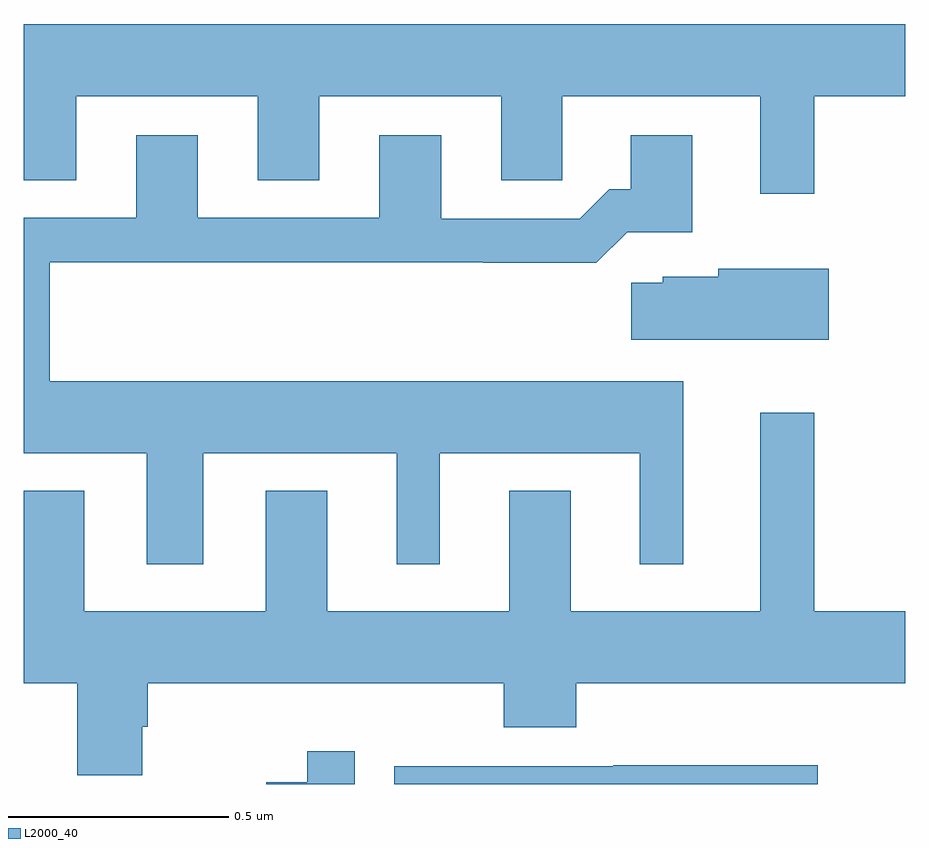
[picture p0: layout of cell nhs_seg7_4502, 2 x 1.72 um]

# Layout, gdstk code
import gdstk
lib = gdstk.Library(unit=1e-6, precision=1e-09)
def P(c, l, *ps):  # polygons
    for p in ps: c.add(gdstk.Polygon(p, *l))
L2000_40 = (2000, 40)

nhs_seg7_4502 = lib.new_cell('nhs_seg7_4502')
P(nhs_seg7_4502, L2000_40, [(174.793,1056.56),(175,1056.56),(175,1056.724),(173,1056.724),(173,1056.37),(173.119,1056.37),(173.119,1056.56),(173.531,1056.56),(173.531,1056.37),(173.671,1056.37),(173.671,1056.56),(174.083,1056.56),(174.083,1056.37),(174.222,1056.37),(174.222,1056.56),(174.671,1056.56),(174.671,1056.339),(174.793,1056.339)],
  [(173.407,1055.75),(173.846,1055.75),(173.846,1055.499),(173.944,1055.499),(173.944,1055.75),(174.398,1055.75),(174.398,1055.499),(174.496,1055.499),(174.496,1055.914),(173.059,1055.914),(173.059,1056.184),(174.043,1056.184),(174.043,1056.182),(174.299,1056.182),(174.369,1056.252),(174.517,1056.252),(174.517,1056.472),(174.377,1056.472),(174.377,1056.349),(174.328,1056.349),(174.261,1056.282),(173.947,1056.282),(173.947,1056.472),(173.807,1056.472),(173.807,1056.285),(173.395,1056.285),(173.395,1056.472),(173.255,1056.472),(173.255,1056.285),(173,1056.285),(173,1055.75),(173.279,1055.75),(173.279,1055.499),(173.407,1055.499)],
  [(174.826,1056.169),(174.576,1056.169),(174.576,1056.151),(174.45,1056.151),(174.45,1056.137),(174.378,1056.137),(174.378,1056.008),(174.826,1056.008)],
  [(173.269,1055.13),(173.282,1055.13),(173.282,1055.228),(174.089,1055.228),(174.089,1055.129),(174.254,1055.129),(174.254,1055.228),(175,1055.228),(175,1055.392),(174.793,1055.392),(174.793,1055.842),(174.671,1055.842),(174.671,1055.392),(174.241,1055.392),(174.241,1055.665),(174.101,1055.665),(174.101,1055.392),(173.689,1055.392),(173.689,1055.665),(173.549,1055.665),(173.549,1055.392),(173.137,1055.392),(173.137,1055.665),(173,1055.665),(173,1055.228),(173.122,1055.228),(173.122,1055.02),(173.269,1055.02)],
  [(173.751,1055.074),(173.643,1055.074),(173.643,1055.004),(173.55,1055.004),(173.55,1055),(173.751,1055)],
  [(174.801,1055.042),(174.337,1055.042),(174.337,1055.04),(173.841,1055.04),(173.841,1055),(174.801,1055)])

lib.write_gds('nhs_seg7_4502.gds')
